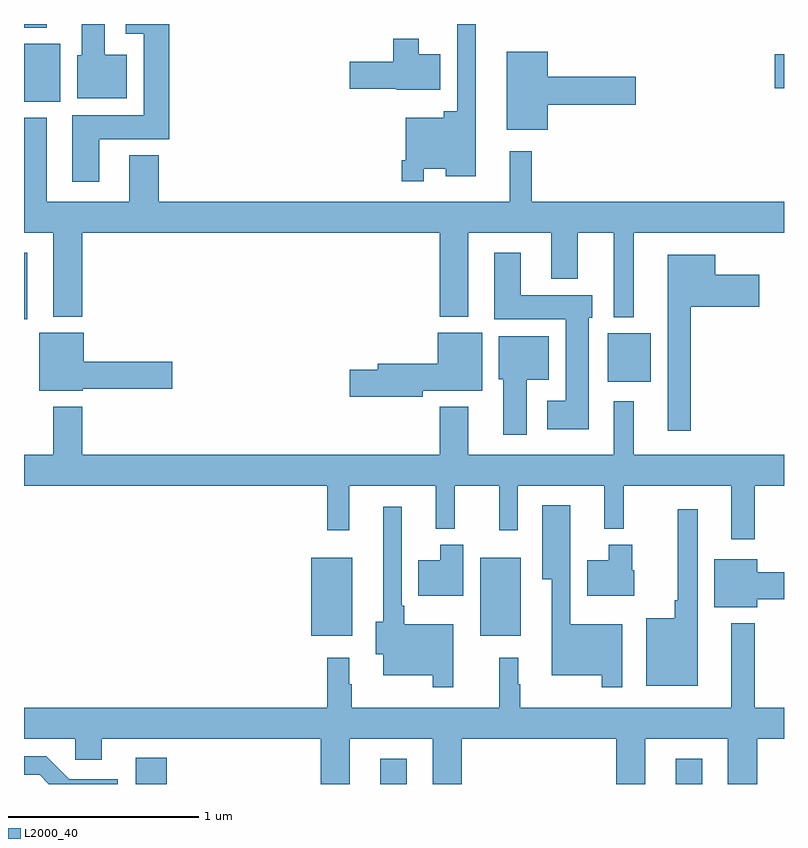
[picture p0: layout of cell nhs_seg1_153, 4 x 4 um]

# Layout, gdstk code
import gdstk
lib = gdstk.Library(unit=1e-6, precision=1e-09)
def R(c, l, rs):  # rectangles x0, y0, x1, y1
    for r in rs: c.add(gdstk.rectangle(r[:2], r[2:], *l))
def P(c, l, *ps):  # polygons
    for p in ps: c.add(gdstk.Polygon(p, *l))
L2000_40 = (2000, 40)

nhs_seg1_153 = lib.new_cell('nhs_seg1_153')
R(nhs_seg1_153, L2000_40, [(119.588,514.199,119.752,514.336), (120.875,514.199,121.015,514.333), (122.429,514.199,122.569,514.333), (120.512,514.979,120.727,515.389), (121.4,514.979,121.615,515.389), (122.072,516.317,122.299,516.571), (119,516.644,119.017,516.996), (119,517.79,119.191,518.095), (122.952,517.862,123,518.04), (119,518.18,119.119,518.199)])
P(nhs_seg1_153, L2000_40, [(119.542,518.038),(119.425,518.038),(119.425,518.199),(119.303,518.199),(119.303,518.034),(119.279,518.034),(119.279,517.808),(119.542,517.808)],
  [(121.104,517.436),(121.22,517.436),(121.22,517.397),(121.378,517.397),(121.378,518.199),(121.281,518.199),(121.281,517.741),(121.208,517.741),(121.208,517.705),(121.008,517.705),(121.008,517.483),(120.988,517.483),(120.988,517.371),(121.104,517.371)],
  [(119.395,517.592),(119.765,517.592),(119.765,518.199),(119.535,518.199),(119.535,518.147),(119.63,518.147),(119.63,517.72),(119.255,517.72),(119.255,517.368),(119.395,517.368)],
  [(121.192,518.041),(121.078,518.041),(121.078,518.122),(120.944,518.122),(120.944,518.001),(120.714,518.001),(120.714,517.859),(120.96,517.859),(120.96,517.853),(121.192,517.853)],
  [(121.756,517.775),(122.221,517.775),(122.221,517.922),(121.756,517.922),(121.756,518.053),(121.541,518.053),(121.541,517.643),(121.756,517.643)],
  [(122.209,517.1),(123,517.1),(123,517.264),(121.673,517.264),(121.673,517.528),(121.556,517.528),(121.556,517.264),(119.708,517.264),(119.708,517.507),(119.555,517.507),(119.555,517.264),(119.119,517.264),(119.119,517.705),(119,517.705),(119,517.1),(119.153,517.1),(119.153,516.659),(119.306,516.659),(119.306,517.1),(121.187,517.1),(121.187,516.659),(121.339,516.659),(121.339,517.1),(121.775,517.1),(121.775,516.857),(121.915,516.857),(121.915,517.1),(122.105,517.1),(122.105,516.656),(122.209,516.656)],
  [(121.972,516.654),(121.99,516.654),(121.99,516.772),(121.615,516.772),(121.615,516.996),(121.475,516.996),(121.475,516.644),(121.85,516.644),(121.85,516.217),(121.755,516.217),(121.755,516.065),(121.972,516.065)],
  [(122.509,516.71),(122.869,516.71),(122.869,516.88),(122.638,516.88),(122.638,516.985),(122.387,516.985),(122.387,516.057),(122.509,516.057)],
  [(121.098,516.269),(121.411,516.269),(121.411,516.574),(121.178,516.574),(121.178,516.41),(120.863,516.41),(120.863,516.38),(120.714,516.38),(120.714,516.238),(121.098,516.238)],
  [(119.31,516.28),(119.779,516.28),(119.779,516.422),(119.314,516.422),(119.314,516.574),(119.081,516.574),(119.081,516.269),(119.31,516.269)],
  [(121.645,516.326),(121.762,516.326),(121.762,516.556),(121.499,516.556),(121.499,516.33),(121.523,516.33),(121.523,516.036),(121.645,516.036)],
  [(122.845,515.768),(123,515.768),(123,515.932),(122.209,515.932),(122.209,516.214),(122.105,516.214),(122.105,515.932),(121.339,515.932),(121.339,516.184),(121.187,516.184),(121.187,515.932),(119.306,515.932),(119.306,516.184),(119.153,516.184),(119.153,515.932),(119,515.932),(119,515.768),(120.595,515.768),(120.595,515.535),(120.713,515.535),(120.713,515.768),(121.166,515.768),(121.166,515.543),(121.266,515.543),(121.266,515.768),(121.501,515.768),(121.501,515.535),(121.599,515.535),(121.599,515.768),(122.054,515.768),(122.054,515.543),(122.156,515.543),(122.156,515.768),(122.723,515.768),(122.723,515.487),(122.845,515.487)],
  [(122.148,515.041),(121.876,515.041),(121.876,515.665),(121.727,515.665),(121.727,515.276),(121.778,515.276),(121.778,514.772),(122.04,514.772),(122.04,514.707),(122.148,514.707)],
  [(121.26,515.041),(121,515.041),(121,515.137),(120.987,515.137),(120.987,515.659),(120.89,515.659),(120.89,515.054),(120.851,515.054),(120.851,514.883),(120.89,514.883),(120.89,514.772),(121.152,514.772),(121.152,514.707),(121.26,514.707)],
  [(122.545,515.644),(122.441,515.644),(122.441,515.167),(122.424,515.167),(122.424,515.071),(122.276,515.071),(122.276,514.715),(122.545,514.715)],
  [(122.212,515.325),(122.2,515.325),(122.2,515.458),(122.078,515.458),(122.078,515.377),(121.964,515.377),(121.964,515.189),(122.212,515.189)],
  [(121.312,515.458),(121.19,515.458),(121.19,515.377),(121.076,515.377),(121.076,515.189),(121.312,515.189)],
  [(122.86,515.171),(123,515.171),(123,515.313),(122.86,515.313),(122.86,515.383),(122.633,515.383),(122.633,515.129),(122.86,515.129)],
  [(120.715,514.436),(121.151,514.436),(121.151,514.199),(121.304,514.199),(121.304,514.436),(122.117,514.436),(122.117,514.199),(122.269,514.199),(122.269,514.436),(122.705,514.436),(122.705,514.199),(122.858,514.199),(122.858,514.436),(123,514.436),(123,514.6),(122.845,514.6),(122.845,515.044),(122.723,515.044),(122.723,514.6),(121.612,514.6),(121.612,514.724),(121.6,514.724),(121.6,514.864),(121.501,514.864),(121.501,514.6),(120.724,514.6),(120.724,514.724),(120.712,514.724),(120.712,514.864),(120.595,514.864),(120.595,514.6),(119,514.6),(119,514.436),(119.271,514.436),(119.271,514.326),(119.41,514.326),(119.41,514.436),(120.563,514.436),(120.563,514.199),(120.715,514.199)],
  [(119.493,514.224),(119.238,514.224),(119.118,514.344),(119,514.344),(119,514.248),(119.082,514.248),(119.131,514.199),(119.493,514.199)])

lib.write_gds('nhs_seg1_153.gds')
